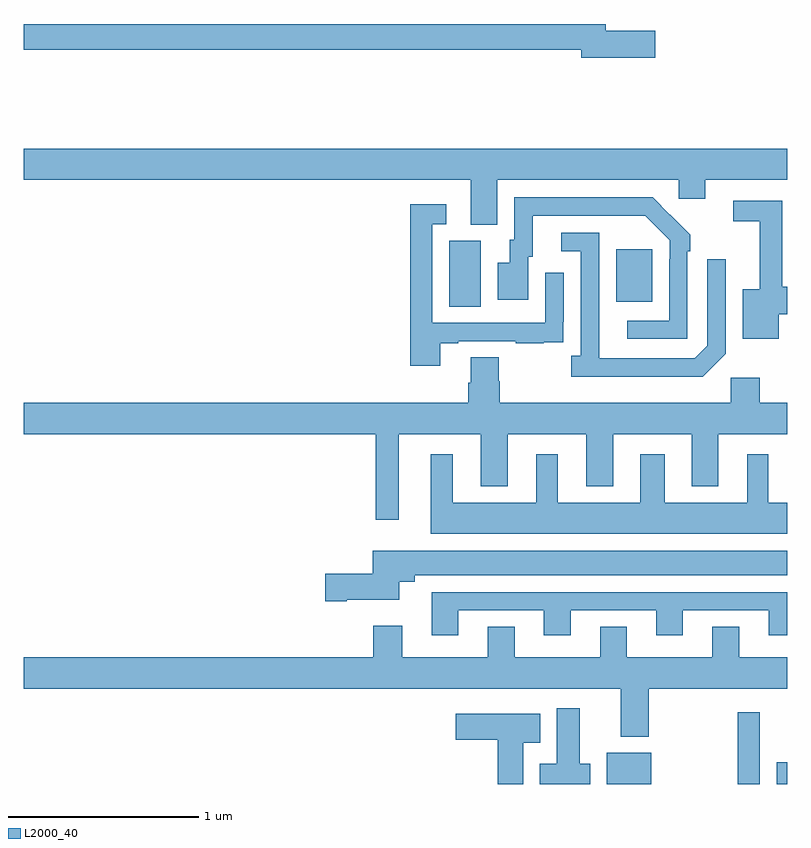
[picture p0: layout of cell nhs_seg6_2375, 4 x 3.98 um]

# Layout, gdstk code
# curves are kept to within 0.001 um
import gdstk
lib = gdstk.Library(unit=1e-6, precision=1e-09)
def R(c, l, rs):  # rectangles x0, y0, x1, y1
    for r in rs: c.add(gdstk.rectangle(r[:2], r[2:], *l))
def P(c, l, *ps):  # polygons
    for p in ps: c.add(gdstk.Polygon(p, *l))
L2000_40 = (2000, 40)

nhs_seg6_2375 = lib.new_cell('nhs_seg6_2375')
R(nhs_seg6_2375, L2000_40, [(256.055,949.5,256.288,949.663), (256.741,949.5,256.855,949.876), (256.943,949.5,257,949.615), (255.23,952,255.394,952.344), (256.103,952.025,256.291,952.3)])
P(nhs_seg6_2375, L2000_40, [(256.309,953.444),(256.048,953.444),(256.048,953.48),(253,953.48),(253,953.344),(255.92,953.344),(255.92,953.302),(256.309,953.302)],
  [(253,952.664),(255.341,952.664),(255.341,952.429),(255.481,952.429),(255.481,952.664),(256.431,952.664),(256.431,952.566),(256.57,952.566),(256.57,952.664),(257,952.664),(257,952.828),(253,952.828)],
  [(256.476,952.289),(256.491,952.289),(256.491,952.377),(256.294,952.572),(255.57,952.572),(255.57,952.35),(255.545,952.35),(255.545,952.231),(255.482,952.231),(255.482,952.035),(255.643,952.035),(255.643,952.26),(255.667,952.26),(255.667,952.476),(256.255,952.476),(256.383,952.347),(256.383,952.247),(256.38,952.247),(256.38,951.927),(256.161,951.927),(256.161,951.831),(256.476,951.831)],
  [(256.954,951.961),(257,951.961),(257,952.103),(256.973,952.103),(256.973,952.554),(256.716,952.554),(256.716,952.446),(256.856,952.446),(256.856,952.09),(256.766,952.09),(256.766,951.833),(256.954,951.833)],
  [(255.181,951.807),(255.277,951.807),(255.277,951.819),(255.577,951.819),(255.577,951.807),(255.725,951.807),(255.725,951.813),(255.827,951.813),(255.827,951.922),(255.828,951.922),(255.828,952.177),(255.732,952.177),(255.732,951.915),(255.141,951.915),(255.141,952.431),(255.214,952.431),(255.214,952.537),(255.025,952.537),(255.025,951.69),(255.181,951.69)],
  [(256.677,951.753),(256.677,952.249),(256.581,952.249),(256.581,951.795),(256.515,951.729),(256.015,951.729),(256.014,952.386),(255.816,952.386),(255.816,952.29),(255.918,952.29),(255.918,951.742),(255.867,951.742),(255.867,951.632),(256.556,951.632)],
  [(255.494,951.609),(255.489,951.609),(255.489,951.734),(255.341,951.734),(255.341,951.602),(255.329,951.602),(255.329,951.496),(253,951.496),(253,951.332),(254.844,951.332),(254.844,950.883),(254.965,950.883),(254.965,951.332),(255.395,951.332),(255.395,951.059),(255.535,951.059),(255.535,951.332),(255.947,951.332),(255.947,951.059),(256.087,951.059),(256.087,951.332),(256.499,951.332),(256.499,951.059),(256.639,951.059),(256.639,951.332),(257,951.332),(257,951.496),(256.856,951.496),(256.856,951.628),(256.704,951.628),(256.704,951.496),(255.494,951.496)],
  [(257,950.974),(256.9,950.974),(256.9,951.226),(256.79,951.226),(256.79,950.974),(256.357,950.974),(256.357,951.226),(256.229,951.226),(256.229,950.974),(255.796,950.974),(255.796,951.226),(255.686,951.226),(255.686,950.974),(255.247,950.974),(255.247,951.226),(255.131,951.226),(255.131,950.81),(257,950.81)],
  [(254.692,950.465),(254.968,950.465),(254.968,950.558),(255.049,950.558),(255.049,950.594),(257,950.594),(257,950.722),(254.828,950.722),(254.828,950.6),(254.58,950.6),(254.58,950.458),(254.692,950.458)],
  [(255.277,950.409),(255.725,950.409),(255.725,950.28),(255.865,950.28),(255.865,950.409),(256.313,950.409),(256.313,950.28),(256.453,950.28),(256.453,950.409),(256.901,950.409),(256.901,950.28),(257,950.28),(257,950.505),(255.137,950.505),(255.137,950.28),(255.277,950.28)],
  [(256.275,950),(257,950),(257,950.164),(256.747,950.164),(256.747,950.324),(256.607,950.324),(256.607,950.164),(256.159,950.164),(256.159,950.324),(256.019,950.324),(256.019,950.164),(255.571,950.164),(255.571,950.324),(255.431,950.324),(255.431,950.164),(254.983,950.164),(254.983,950.329),(254.831,950.329),(254.831,950.164),(253,950.164),(253,950),(256.127,950),(256.127,949.748),(256.275,949.748)],
  [(255.967,949.606),(255.913,949.606),(255.913,949.897),(255.791,949.897),(255.791,949.606),(255.704,949.606),(255.704,949.5),(255.967,949.5)],
  [(255.616,949.715),(255.706,949.715),(255.706,949.867),(255.264,949.867),(255.264,949.733),(255.482,949.733),(255.482,949.5),(255.616,949.5)])

lib.write_gds('nhs_seg6_2375.gds')
